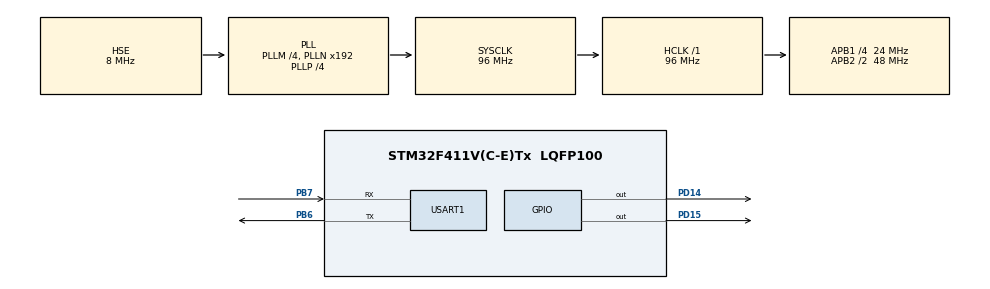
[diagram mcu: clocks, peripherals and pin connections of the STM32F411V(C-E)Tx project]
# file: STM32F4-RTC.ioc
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Mcu.Family=STM32F4
Mcu.Name=STM32F411V(C-E)Tx
Mcu.Package=LQFP100
NVIC.PriorityGroup=NVIC_PRIORITYGROUP_0
PB6.Mode=Asynchronous
PB6.Signal=USART1_TX
PB7.Mode=Asynchronous
PB7.Signal=USART1_RX
PD14.Signal=GPIO_Output
PD15.Signal=GPIO_Output
PH0\ -\ OSC_IN.Mode=HSE-External-Oscillator
PH0\ -\ OSC_IN.Signal=RCC_OSC_IN
PH1\ -\ OSC_OUT.Mode=HSE-External-Oscillator
PH1\ -\ OSC_OUT.Signal=RCC_OSC_OUT
ProjectManager.HeapSize=0x200
ProjectManager.StackSize=0x400
ProjectManager.TargetToolchain=STM32CubeIDE
RCC.48MHZClocksFreq_Value=48000000
RCC.AHBFreq_Value=96000000
RCC.APB1CLKDivider=RCC_HCLK_DIV4
RCC.APB1Freq_Value=24000000
RCC.APB1TimFreq_Value=48000000
RCC.APB2CLKDivider=RCC_HCLK_DIV2
RCC.APB2Freq_Value=48000000
RCC.APB2TimFreq_Value=96000000
RCC.CortexFreq_Value=96000000
RCC.HCLKFreq_Value=96000000
RCC.HSE_VALUE=8000000
RCC.HSI_VALUE=16000000
RCC.PLLI2SM=5
RCC.PLLI2SN=200
RCC.PLLM=4
RCC.PLLP=RCC_PLLP_DIV4
RCC.PLLQ=8
RCC.PLLSourceVirtual=RCC_PLLSOURCE_HSE
RCC.RCC_RTC_Clock_SourceVirtual=RCC_RTCCLKSOURCE_HSE_DIV8
RCC.RCC_RTC_Clock_Source_FROM_HSE=RCC_RTCCLKSOURCE_HSE_DIV8
RCC.SYSCLKFreq_VALUE=96000000
RCC.SYSCLKSource=RCC_SYSCLKSOURCE_PLLCLK
RCC.VCOOutputFreq_Value=384000000
RTC.Alarm=RTC_ALARM_A
RTC.AsynchPrediv=125-1
RTC.Format=RTC_FORMAT_BIN
RTC.HourFormat=RTC_HOURFORMAT_24
RTC.SynchPrediv=8000-1
RTC.WeekDay=RTC_WEEKDAY_MONDAY
USART1.VirtualMode=VM_ASYNC
VP_RTC_VS_RTC_Activate.Mode=RTC_Enabled
VP_RTC_VS_RTC_Alarm_A_Intern.Mode=Alarm A
VP_RTC_VS_RTC_Calendar.Mode=RTC_Calendar
board=STM32F411E-DISCO

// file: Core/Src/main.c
/* USER CODE BEGIN Header */
/**
  ******************************************************************************
  * @file           : main.c
  * @brief          : Main program body
  ******************************************************************************
  * @attention
  *
  * Copyright (c) 2023 STMicroelectronics.
  * All rights reserved.
  *
  * This software is licensed under terms that can be found in the LICENSE file
  * in the root directory of this software component.
  * If no LICENSE file comes with this software, it is provided AS-IS.
  *
  ******************************************************************************
  */
/* USER CODE END Header */
#include "main.h"

/* USER CODE BEGIN Includes */
#include <stdio.h>
/* USER CODE END Includes */

RTC_HandleTypeDef hrtc;

UART_HandleTypeDef huart1;

/* USER CODE BEGIN PV */

#define UartHandle &huart1
#define RtcHandle &hrtc
static uint16_t YearStart = 2000;

/* USER CODE END PV */

void SystemClock_Config(void);
static void MX_GPIO_Init(void);
static void MX_RTC_Init(void);
static void MX_USART1_UART_Init(void);

int main(void)
{

  /* MCU Configuration--------------------------------------------------------*/

  /* Reset of all peripherals, Initializes the Flash interface and the Systick. */
  HAL_Init();

  /* Configure the system clock */
  SystemClock_Config();

  /* Initialize all configured peripherals */
  MX_GPIO_Init();
  MX_RTC_Init();
  MX_USART1_UART_Init();
  /* USER CODE BEGIN 2 */

  // Disable Wakeup Timer and configure it
  HAL_RTCEx_DeactivateWakeUpTimer(RtcHandle);

  // Data
  RTC_TimeTypeDef sTime;
  RTC_DateTypeDef sDate;
  char message[50];
  uint8_t size;
  //uint16_t mseconds;

  //UART HELLO
  size = sprintf(message,"\n\rHello\r");
  HAL_UART_Transmit(UartHandle, (uint8_t*)message, size, 50);

  //Set Time
  sTime.Hours = 12;
  sTime.Minutes = 59;
  sTime.Seconds = 50;
  HAL_RTC_SetTime(RtcHandle, &sTime, RTC_FORMAT_BIN);

  //Set Date
  sDate.WeekDay = RTC_WEEKDAY_FRIDAY;
  sDate.Month = 1;
  sDate.Date = 26;
  sDate.Year = 24; // from 0-99 (1972 == 72, start year = 1900)
  HAL_RTC_SetDate(RtcHandle, &sDate, RTC_FORMAT_BIN);

  /* USER CODE END 2 */

  /* Infinite loop */
  /* USER CODE BEGIN WHILE */
  while (1)
  {
	 HAL_RTC_GetTime(RtcHandle, &sTime, RTC_FORMAT_BIN);
	 HAL_RTC_GetDate(RtcHandle, &sDate, RTC_FORMAT_BIN);
	 uint16_t mseconds = (sTime.SubSeconds * 1000) / (sTime.SecondFraction + 1);

	 // Send time and date over uart
	 size = sprintf(message, "Date: %2.2u-%2.2u-%4.4u   ", sDate.Month, sDate.Date, sDate.Year + YearStart);
	 HAL_UART_Transmit(UartHandle, (uint8_t*)message, size, 50);
	 size = sprintf(message, "Time: %2.2u:%2.2u:%2.2u:%3.3u\n\r", sTime.Hours, sTime.Minutes, sTime.Seconds, mseconds);
	 HAL_UART_Transmit(UartHandle, (uint8_t*)message, size, 50);

	 HAL_GPIO_TogglePin(GPIOD, GPIO_PIN_15);
	 HAL_Delay(1000);

    /* USER CODE END WHILE */

  }
}

void SystemClock_Config(void)
{
  RCC_OscInitTypeDef RCC_OscInitStruct = {0};
  RCC_ClkInitTypeDef RCC_ClkInitStruct = {0};

  /** Configure the main internal regulator output voltage
  */
  __HAL_RCC_PWR_CLK_ENABLE();
  __HAL_PWR_VOLTAGESCALING_CONFIG(PWR_REGULATOR_VOLTAGE_SCALE1);

  /** Initializes the RCC Oscillators according to the specified parameters
  * in the RCC_OscInitTypeDef structure.
  */
  RCC_OscInitStruct.OscillatorType = RCC_OSCILLATORTYPE_HSE;
  RCC_OscInitStruct.HSEState = RCC_HSE_ON;
  RCC_OscInitStruct.PLL.PLLState = RCC_PLL_ON;
  RCC_OscInitStruct.PLL.PLLSource = RCC_PLLSOURCE_HSE;
  RCC_OscInitStruct.PLL.PLLM = 4;
  RCC_OscInitStruct.PLL.PLLN = 192;
  RCC_OscInitStruct.PLL.PLLP = RCC_PLLP_DIV4;
  RCC_OscInitStruct.PLL.PLLQ = 8;
  if (HAL_RCC_OscConfig(&RCC_OscInitStruct) != HAL_OK)
  {
    Error_Handler();
  }

  /** Initializes the CPU, AHB and APB buses clocks
  */
  RCC_ClkInitStruct.ClockType = RCC_CLOCKTYPE_HCLK|RCC_CLOCKTYPE_SYSCLK
                              |RCC_CLOCKTYPE_PCLK1|RCC_CLOCKTYPE_PCLK2;
  RCC_ClkInitStruct.SYSCLKSource = RCC_SYSCLKSOURCE_PLLCLK;
  RCC_ClkInitStruct.AHBCLKDivider = RCC_SYSCLK_DIV1;
  RCC_ClkInitStruct.APB1CLKDivider = RCC_HCLK_DIV4;
  RCC_ClkInitStruct.APB2CLKDivider = RCC_HCLK_DIV2;

  if (HAL_RCC_ClockConfig(&RCC_ClkInitStruct, FLASH_LATENCY_3) != HAL_OK)
  {
    Error_Handler();
  }
}

static void MX_RTC_Init(void)
{

  RTC_TimeTypeDef sTime = {0};
  RTC_DateTypeDef sDate = {0};
  RTC_AlarmTypeDef sAlarm = {0};

  /** Initialize RTC Only
  */
  hrtc.Instance = RTC;
  hrtc.Init.HourFormat = RTC_HOURFORMAT_24;
  hrtc.Init.AsynchPrediv = 125-1;
  hrtc.Init.SynchPrediv = 8000-1;
  hrtc.Init.OutPut = RTC_OUTPUT_DISABLE;
  hrtc.Init.OutPutPolarity = RTC_OUTPUT_POLARITY_HIGH;
  hrtc.Init.OutPutType = RTC_OUTPUT_TYPE_OPENDRAIN;
  if (HAL_RTC_Init(&hrtc) != HAL_OK)
  {
    Error_Handler();
  }

  /** Initialize RTC and set the Time and Date
  */
  sTime.Hours = 0;
  sTime.Minutes = 0;
  sTime.Seconds = 0;
  sTime.DayLightSaving = RTC_DAYLIGHTSAVING_NONE;
  sTime.StoreOperation = RTC_STOREOPERATION_RESET;
  if (HAL_RTC_SetTime(&hrtc, &sTime, RTC_FORMAT_BIN) != HAL_OK)
  {
    Error_Handler();
  }
  sDate.WeekDay = RTC_WEEKDAY_MONDAY;
  sDate.Month = RTC_MONTH_JANUARY;
  sDate.Date = 1;
  sDate.Year = 0;

  if (HAL_RTC_SetDate(&hrtc, &sDate, RTC_FORMAT_BIN) != HAL_OK)
  {
    Error_Handler();
  }

  /** Enable the Alarm A
  */
  sAlarm.AlarmTime.Hours = 0;
  sAlarm.AlarmTime.Minutes = 0;
  sAlarm.AlarmTime.Seconds = 0;
  sAlarm.AlarmTime.SubSeconds = 0;
  sAlarm.AlarmTime.DayLightSaving = RTC_DAYLIGHTSAVING_NONE;
  sAlarm.AlarmTime.StoreOperation = RTC_STOREOPERATION_RESET;
  sAlarm.AlarmMask = RTC_ALARMMASK_NONE;
  sAlarm.AlarmSubSecondMask = RTC_ALARMSUBSECONDMASK_ALL;
  sAlarm.AlarmDateWeekDaySel = RTC_ALARMDATEWEEKDAYSEL_DATE;
  sAlarm.AlarmDateWeekDay = 1;
  sAlarm.Alarm = RTC_ALARM_A;
  if (HAL_RTC_SetAlarm(&hrtc, &sAlarm, RTC_FORMAT_BIN) != HAL_OK)
  {
    Error_Handler();
  }

}

static void MX_USART1_UART_Init(void)
{

  huart1.Instance = USART1;
  huart1.Init.BaudRate = 115200;
  huart1.Init.WordLength = UART_WORDLENGTH_8B;
  huart1.Init.StopBits = UART_STOPBITS_1;
  huart1.Init.Parity = UART_PARITY_NONE;
  huart1.Init.Mode = UART_MODE_TX_RX;
  huart1.Init.HwFlowCtl = UART_HWCONTROL_NONE;
  huart1.Init.OverSampling = UART_OVERSAMPLING_16;
  if (HAL_UART_Init(&huart1) != HAL_OK)
  {
    Error_Handler();
  }

}

static void MX_GPIO_Init(void)
{
  GPIO_InitTypeDef GPIO_InitStruct = {0};

  /* GPIO Ports Clock Enable */
  __HAL_RCC_GPIOH_CLK_ENABLE();
  __HAL_RCC_GPIOD_CLK_ENABLE();
  __HAL_RCC_GPIOB_CLK_ENABLE();

  /*Configure GPIO pin Output Level */
  HAL_GPIO_WritePin(GPIOD, GPIO_PIN_14|GPIO_PIN_15, GPIO_PIN_RESET);

  /*Configure GPIO pins : PD14 PD15 */
  GPIO_InitStruct.Pin = GPIO_PIN_14|GPIO_PIN_15;
  GPIO_InitStruct.Mode = GPIO_MODE_OUTPUT_PP;
  GPIO_InitStruct.Pull = GPIO_NOPULL;
  GPIO_InitStruct.Speed = GPIO_SPEED_FREQ_LOW;
  HAL_GPIO_Init(GPIOD, &GPIO_InitStruct);

}

void Error_Handler(void)
{
  __disable_irq();
  while (1)
  {
  }
}
